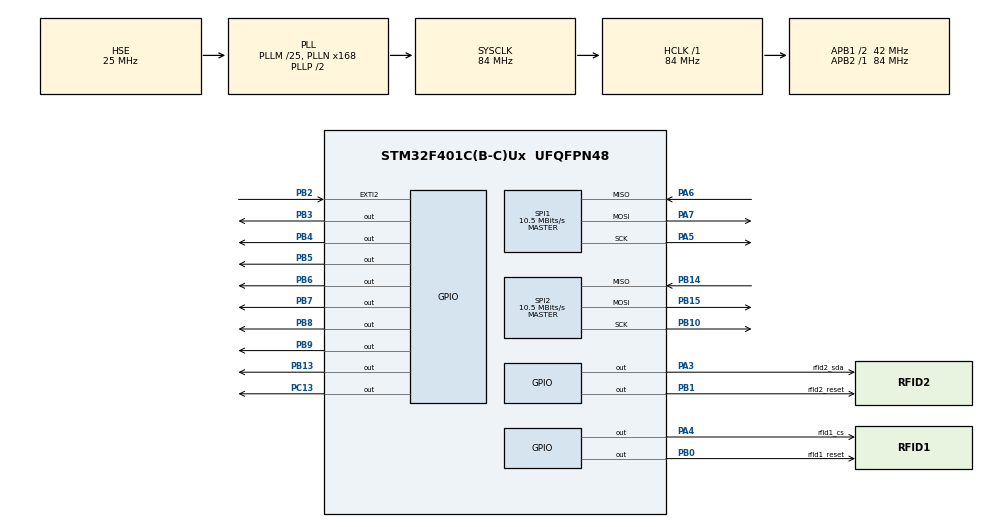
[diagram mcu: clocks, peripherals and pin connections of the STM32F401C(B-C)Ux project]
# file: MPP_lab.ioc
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Mcu.Family=STM32F4
Mcu.Name=STM32F401C(B-C)Ux
Mcu.Package=UFQFPN48
NVIC.PriorityGroup=NVIC_PRIORITYGROUP_4
NVIC.TIM2_IRQn=true\:0\:0\:false\:false\:true\:true\:true\:true
PA13.Mode=Serial_Wire
PA13.Signal=SYS_JTMS-SWDIO
PA14.Mode=Serial_Wire
PA14.Signal=SYS_JTCK-SWCLK
PA3.GPIO_Label=rfid2_sda
PA3.Signal=GPIO_Output
PA4.GPIO_Label=rfid1_cs
PA4.Signal=GPIO_Output
PA5.Mode=Full_Duplex_Master
PA5.Signal=SPI1_SCK
PA6.Mode=Full_Duplex_Master
PA6.Signal=SPI1_MISO
PA7.Mode=Full_Duplex_Master
PA7.Signal=SPI1_MOSI
PB0.GPIO_Label=rfid1_reset
PB0.Signal=GPIO_Output
PB1.GPIO_Label=rfid2_reset
PB1.Signal=GPIO_Output
PB10.Mode=Full_Duplex_Master
PB10.Signal=SPI2_SCK
PB13.Signal=GPIO_Output
PB14.Mode=Full_Duplex_Master
PB14.Signal=SPI2_MISO
PB15.Mode=Full_Duplex_Master
PB15.Signal=SPI2_MOSI
PB2.GPIO_PuPd=GPIO_PULLDOWN
PB2.Signal=GPXTI2
PB3.Signal=GPIO_Output
PB4.Signal=GPIO_Output
PB5.Signal=GPIO_Output
PB6.Signal=GPIO_Output
PB7.Signal=GPIO_Output
PB8.Signal=GPIO_Output
PB9.Signal=GPIO_Output
PC13-ANTI_TAMP.Signal=GPIO_Output
PH0\ -\ OSC_IN.Mode=HSE-External-Oscillator
PH0\ -\ OSC_IN.Signal=RCC_OSC_IN
PH1\ -\ OSC_OUT.Mode=HSE-External-Oscillator
PH1\ -\ OSC_OUT.Signal=RCC_OSC_OUT
ProjectManager.HeapSize=0x200
ProjectManager.StackSize=0x400
ProjectManager.TargetToolchain=STM32CubeIDE
RCC.48MHZClocksFreq_Value=42000000
RCC.AHBFreq_Value=84000000
RCC.APB1CLKDivider=RCC_HCLK_DIV2
RCC.APB1Freq_Value=42000000
RCC.APB1TimFreq_Value=84000000
RCC.APB2Freq_Value=84000000
RCC.APB2TimFreq_Value=84000000
RCC.CortexFreq_Value=84000000
RCC.HCLKFreq_Value=84000000
RCC.HSE_VALUE=25000000
RCC.HSI_VALUE=16000000
RCC.LSE_VALUE=32768
RCC.PLLM=25
RCC.PLLN=168
RCC.PLLSourceVirtual=RCC_PLLSOURCE_HSE
RCC.SYSCLKFreq_VALUE=84000000
RCC.SYSCLKSource=RCC_SYSCLKSOURCE_PLLCLK
RCC.VCOOutputFreq_Value=168000000
SPI1.BaudRatePrescaler=SPI_BAUDRATEPRESCALER_8
SPI1.CalculateBaudRate=10.5 MBits/s
SPI1.Direction=SPI_DIRECTION_2LINES
SPI1.Mode=SPI_MODE_MASTER
SPI1.VirtualType=VM_MASTER
SPI2.BaudRatePrescaler=SPI_BAUDRATEPRESCALER_4
SPI2.CalculateBaudRate=10.5 MBits/s
SPI2.Direction=SPI_DIRECTION_2LINES
SPI2.Mode=SPI_MODE_MASTER
SPI2.VirtualType=VM_MASTER
TIM2.Period=9999
TIM2.Prescaler=8399
VP_TIM2_VS_ClockSourceINT.Mode=Internal
board=custom

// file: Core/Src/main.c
/* USER CODE BEGIN Header */
//Reader 1 is South road
//Reader 2 is West Road.

/**
  ******************************************************************************
  * @file           : main.c
  * @brief          : Main program body
  ******************************************************************************
  * @attention
  *
  * Copyright (c) 2025 STMicroelectronics.
  * All rights reserved.
  *
  * This software is licensed under terms that can be found in the LICENSE file
  * in the root directory of this software component.
  * If no LICENSE file comes with this software, it is provided AS-IS.
  *
  ******************************************************************************
  */
/* USER CODE END Header */
#include "main.h"

/* USER CODE BEGIN Includes */
#include "string.h"
#include <rc522_1.h>
#include <rc522_2.h>
#include <stdbool.h>
/* USER CODE END Includes */

SPI_HandleTypeDef hspi1;
SPI_HandleTypeDef hspi2;

TIM_HandleTypeDef htim2;

/* USER CODE BEGIN PV */
uint8_t status;
uint8_t str[MAX_LEN]; // Max_LEN = 16
uint8_t card_id[5];
uint8_t cardNumber = 2;
bool chainless = false;
bool chained = false;
bool emergencychange = false;

#define SOUTH_GREEN_PIN   GPIO_PIN_3
#define SOUTH_RED_PIN     GPIO_PIN_4
#define WEST_GREEN_PIN    GPIO_PIN_5
#define WEST_RED_PIN      GPIO_PIN_6
#define NORTH_GREEN_PIN   GPIO_PIN_7
#define NORTH_RED_PIN     GPIO_PIN_8
#define EAST_GREEN_PIN    GPIO_PIN_9
#define EAST_RED_PIN      GPIO_PIN_13
#define TRAFFIC_PORT      GPIOB

/* USER CODE END PV */

void SystemClock_Config(void);
static void MX_GPIO_Init(void);
static void MX_SPI1_Init(void);
static void MX_TIM2_Init(void);
static void MX_SPI2_Init(void);

/* USER CODE BEGIN 0 */
uint16_t timerCounter = 0;

typedef enum{
	reader1,
	reader2
}Reader;

typedef enum {
    SOUTH_GREEN,
    WEST_GREEN,
    NORTH_GREEN,
    EAST_GREEN
} TrafficState;

bool emergencySouth = false;
bool emergencyWest = false;
bool emergencyActive = false;  // Indicates currently giving priority
TrafficState prevState;
TrafficState trafficState = SOUTH_GREEN;
uint16_t trafficTimer = 0;  // counts seconds within one state

void SetAllRed() {
    HAL_GPIO_WritePin(TRAFFIC_PORT, SOUTH_RED_PIN, GPIO_PIN_SET);
    HAL_GPIO_WritePin(TRAFFIC_PORT, WEST_RED_PIN, GPIO_PIN_SET);
    HAL_GPIO_WritePin(TRAFFIC_PORT, NORTH_RED_PIN, GPIO_PIN_SET);
    HAL_GPIO_WritePin(TRAFFIC_PORT, EAST_RED_PIN, GPIO_PIN_SET);

    HAL_GPIO_WritePin(TRAFFIC_PORT, SOUTH_GREEN_PIN, GPIO_PIN_RESET);
    HAL_GPIO_WritePin(TRAFFIC_PORT, WEST_GREEN_PIN, GPIO_PIN_RESET);
    HAL_GPIO_WritePin(TRAFFIC_PORT, NORTH_GREEN_PIN, GPIO_PIN_RESET);
    HAL_GPIO_WritePin(TRAFFIC_PORT, EAST_GREEN_PIN, GPIO_PIN_RESET);
}

void SetTrafficState(TrafficState state) {
    SetAllRed();  // first turn everything red

    switch (state) {
        case SOUTH_GREEN:
            HAL_GPIO_WritePin(TRAFFIC_PORT, SOUTH_RED_PIN, GPIO_PIN_RESET);
            HAL_GPIO_WritePin(TRAFFIC_PORT, SOUTH_GREEN_PIN, GPIO_PIN_SET);
            break;
        case WEST_GREEN:
            HAL_GPIO_WritePin(TRAFFIC_PORT, WEST_RED_PIN, GPIO_PIN_RESET);
            HAL_GPIO_WritePin(TRAFFIC_PORT, WEST_GREEN_PIN, GPIO_PIN_SET);
            break;
        case NORTH_GREEN:
            HAL_GPIO_WritePin(TRAFFIC_PORT, NORTH_RED_PIN, GPIO_PIN_RESET);
            HAL_GPIO_WritePin(TRAFFIC_PORT, NORTH_GREEN_PIN, GPIO_PIN_SET);
            break;
        case EAST_GREEN:
            HAL_GPIO_WritePin(TRAFFIC_PORT, EAST_RED_PIN, GPIO_PIN_RESET);
            HAL_GPIO_WritePin(TRAFFIC_PORT, EAST_GREEN_PIN, GPIO_PIN_SET);
            break;
    }
}

void set_status(Reader readby){
		prevState = trafficState;
	if(readby == reader1){
		trafficTimer = 0;
		emergencychange = true;
		SetTrafficState(SOUTH_GREEN);
	}
	else if(readby == reader2){
		trafficTimer = 0;
		emergencychange = true;
		SetTrafficState(WEST_GREEN);
	}
}

/* USER CODE END 0 */

int main(void)
{

  /* MCU Configuration--------------------------------------------------------*/

  /* Reset of all peripherals, Initializes the Flash interface and the Systick. */
  HAL_Init();

  /* Configure the system clock */
  SystemClock_Config();

  /* Initialize all configured peripherals */
  MX_GPIO_Init();
  MX_SPI1_Init();
  MX_TIM2_Init();
  MX_SPI2_Init();
  /* USER CODE BEGIN 2 */
  HAL_TIM_Base_Start_IT(&htim2);
  MFRC522_Init_1();
  MFRC522_Init();
  SetAllRed();
  SetTrafficState(SOUTH_GREEN);

  /* USER CODE END 2 */

  /* Infinite loop */
  /* USER CODE BEGIN WHILE */
  HAL_GPIO_WritePin(GPIOC, GPIO_PIN_13,0);
  while (1)
  {
	  //PC13 LED TESTER
//	  HAL_GPIO_WritePin(GPIOC, GPIO_PIN_13, 1);
//			  HAL_Delay(100);
//	  HAL_GPIO_WritePin(GPIOC, GPIO_PIN_13, 0);
//			  HAL_Delay(100);

	  // South RFID
	  if (!emergencyActive && MFRC522_Request_1(PICC_REQIDL_1, str) == MI_OK)
	  {
	      status = MFRC522_Anticoll_1(str);
	      memcpy(card_id, str, 5);
	      emergencySouth = true;   // Emergency detected on South
	      HAL_Delay(100);
	  }

	  // West RFID
	  if (!emergencyActive && MFRC522_Request(PICC_REQIDL, str) == MI_OK)
	  {
	      status = MFRC522_Anticoll(str);
	      memcpy(card_id, str, 5);
	      emergencyWest = true;    // Emergency detected on West
	      HAL_Delay(100);
	  }

    /* USER CODE END WHILE */

  }
}

void SystemClock_Config(void)
{
  RCC_OscInitTypeDef RCC_OscInitStruct = {0};
  RCC_ClkInitTypeDef RCC_ClkInitStruct = {0};

  /** Configure the main internal regulator output voltage
  */
  __HAL_RCC_PWR_CLK_ENABLE();
  __HAL_PWR_VOLTAGESCALING_CONFIG(PWR_REGULATOR_VOLTAGE_SCALE2);

  /** Initializes the RCC Oscillators according to the specified parameters
  * in the RCC_OscInitTypeDef structure.
  */
  RCC_OscInitStruct.OscillatorType = RCC_OSCILLATORTYPE_HSE;
  RCC_OscInitStruct.HSEState = RCC_HSE_ON;
  RCC_OscInitStruct.PLL.PLLState = RCC_PLL_ON;
  RCC_OscInitStruct.PLL.PLLSource = RCC_PLLSOURCE_HSE;
  RCC_OscInitStruct.PLL.PLLM = 25;
  RCC_OscInitStruct.PLL.PLLN = 168;
  RCC_OscInitStruct.PLL.PLLP = RCC_PLLP_DIV2;
  RCC_OscInitStruct.PLL.PLLQ = 4;
  if (HAL_RCC_OscConfig(&RCC_OscInitStruct) != HAL_OK)
  {
    Error_Handler();
  }

  /** Initializes the CPU, AHB and APB buses clocks
  */
  RCC_ClkInitStruct.ClockType = RCC_CLOCKTYPE_HCLK|RCC_CLOCKTYPE_SYSCLK
                              |RCC_CLOCKTYPE_PCLK1|RCC_CLOCKTYPE_PCLK2;
  RCC_ClkInitStruct.SYSCLKSource = RCC_SYSCLKSOURCE_PLLCLK;
  RCC_ClkInitStruct.AHBCLKDivider = RCC_SYSCLK_DIV1;
  RCC_ClkInitStruct.APB1CLKDivider = RCC_HCLK_DIV2;
  RCC_ClkInitStruct.APB2CLKDivider = RCC_HCLK_DIV1;

  if (HAL_RCC_ClockConfig(&RCC_ClkInitStruct, FLASH_LATENCY_2) != HAL_OK)
  {
    Error_Handler();
  }
}

static void MX_SPI1_Init(void)
{

  /* SPI1 parameter configuration*/
  hspi1.Instance = SPI1;
  hspi1.Init.Mode = SPI_MODE_MASTER;
  hspi1.Init.Direction = SPI_DIRECTION_2LINES;
  hspi1.Init.DataSize = SPI_DATASIZE_8BIT;
  hspi1.Init.CLKPolarity = SPI_POLARITY_LOW;
  hspi1.Init.CLKPhase = SPI_PHASE_1EDGE;
  hspi1.Init.NSS = SPI_NSS_SOFT;
  hspi1.Init.BaudRatePrescaler = SPI_BAUDRATEPRESCALER_8;
  hspi1.Init.FirstBit = SPI_FIRSTBIT_MSB;
  hspi1.Init.TIMode = SPI_TIMODE_DISABLE;
  hspi1.Init.CRCCalculation = SPI_CRCCALCULATION_DISABLE;
  hspi1.Init.CRCPolynomial = 10;
  if (HAL_SPI_Init(&hspi1) != HAL_OK)
  {
    Error_Handler();
  }

}

static void MX_SPI2_Init(void)
{

  /* SPI2 parameter configuration*/
  hspi2.Instance = SPI2;
  hspi2.Init.Mode = SPI_MODE_MASTER;
  hspi2.Init.Direction = SPI_DIRECTION_2LINES;
  hspi2.Init.DataSize = SPI_DATASIZE_8BIT;
  hspi2.Init.CLKPolarity = SPI_POLARITY_LOW;
  hspi2.Init.CLKPhase = SPI_PHASE_1EDGE;
  hspi2.Init.NSS = SPI_NSS_SOFT;
  hspi2.Init.BaudRatePrescaler = SPI_BAUDRATEPRESCALER_4;
  hspi2.Init.FirstBit = SPI_FIRSTBIT_MSB;
  hspi2.Init.TIMode = SPI_TIMODE_DISABLE;
  hspi2.Init.CRCCalculation = SPI_CRCCALCULATION_DISABLE;
  hspi2.Init.CRCPolynomial = 10;
  if (HAL_SPI_Init(&hspi2) != HAL_OK)
  {
    Error_Handler();
  }

}

static void MX_TIM2_Init(void)
{

  TIM_ClockConfigTypeDef sClockSourceConfig = {0};
  TIM_MasterConfigTypeDef sMasterConfig = {0};

  htim2.Instance = TIM2;
  htim2.Init.Prescaler = 8399;
  htim2.Init.CounterMode = TIM_COUNTERMODE_UP;
  htim2.Init.Period = 9999;
  htim2.Init.ClockDivision = TIM_CLOCKDIVISION_DIV1;
  htim2.Init.AutoReloadPreload = TIM_AUTORELOAD_PRELOAD_DISABLE;
  if (HAL_TIM_Base_Init(&htim2) != HAL_OK)
  {
    Error_Handler();
  }
  sClockSourceConfig.ClockSource = TIM_CLOCKSOURCE_INTERNAL;
  if (HAL_TIM_ConfigClockSource(&htim2, &sClockSourceConfig) != HAL_OK)
  {
    Error_Handler();
  }
  sMasterConfig.MasterOutputTrigger = TIM_TRGO_RESET;
  sMasterConfig.MasterSlaveMode = TIM_MASTERSLAVEMODE_DISABLE;
  if (HAL_TIMEx_MasterConfigSynchronization(&htim2, &sMasterConfig) != HAL_OK)
  {
    Error_Handler();
  }

}

static void MX_GPIO_Init(void)
{
  GPIO_InitTypeDef GPIO_InitStruct = {0};

  /* GPIO Ports Clock Enable */
  __HAL_RCC_GPIOC_CLK_ENABLE();
  __HAL_RCC_GPIOH_CLK_ENABLE();
  __HAL_RCC_GPIOA_CLK_ENABLE();
  __HAL_RCC_GPIOB_CLK_ENABLE();

  /*Configure GPIO pin Output Level */
  HAL_GPIO_WritePin(GPIOC, GPIO_PIN_13, GPIO_PIN_RESET);

  /*Configure GPIO pin Output Level */
  HAL_GPIO_WritePin(GPIOA, rfid2_sda_Pin|rfid1_cs_Pin, GPIO_PIN_RESET);

  /*Configure GPIO pin Output Level */
  HAL_GPIO_WritePin(GPIOB, rfid1_reset_Pin|rfid2_reset_Pin|GPIO_PIN_13|GPIO_PIN_3
                          |GPIO_PIN_4|GPIO_PIN_5|GPIO_PIN_6|GPIO_PIN_7
                          |GPIO_PIN_8|GPIO_PIN_9, GPIO_PIN_RESET);

  /*Configure GPIO pin : PC13 */
  GPIO_InitStruct.Pin = GPIO_PIN_13;
  GPIO_InitStruct.Mode = GPIO_MODE_OUTPUT_PP;
  GPIO_InitStruct.Pull = GPIO_NOPULL;
  GPIO_InitStruct.Speed = GPIO_SPEED_FREQ_LOW;
  HAL_GPIO_Init(GPIOC, &GPIO_InitStruct);

  /*Configure GPIO pins : rfid2_sda_Pin rfid1_cs_Pin */
  GPIO_InitStruct.Pin = rfid2_sda_Pin|rfid1_cs_Pin;
  GPIO_InitStruct.Mode = GPIO_MODE_OUTPUT_PP;
  GPIO_InitStruct.Pull = GPIO_NOPULL;
  GPIO_InitStruct.Speed = GPIO_SPEED_FREQ_LOW;
  HAL_GPIO_Init(GPIOA, &GPIO_InitStruct);

  /*Configure GPIO pins : rfid1_reset_Pin rfid2_reset_Pin PB13 PB3
                           PB4 PB5 PB6 PB7
                           PB8 PB9 */
  GPIO_InitStruct.Pin = rfid1_reset_Pin|rfid2_reset_Pin|GPIO_PIN_13|GPIO_PIN_3
                          |GPIO_PIN_4|GPIO_PIN_5|GPIO_PIN_6|GPIO_PIN_7
                          |GPIO_PIN_8|GPIO_PIN_9;
  GPIO_InitStruct.Mode = GPIO_MODE_OUTPUT_PP;
  GPIO_InitStruct.Pull = GPIO_NOPULL;
  GPIO_InitStruct.Speed = GPIO_SPEED_FREQ_LOW;
  HAL_GPIO_Init(GPIOB, &GPIO_InitStruct);

  /*Configure GPIO pin : PB2 */
  GPIO_InitStruct.Pin = GPIO_PIN_2;
  GPIO_InitStruct.Mode = GPIO_MODE_IT_RISING;
  GPIO_InitStruct.Pull = GPIO_PULLDOWN;
  HAL_GPIO_Init(GPIOB, &GPIO_InitStruct);

}

/* USER CODE BEGIN 4 */
void HAL_TIM_PeriodElapsedCallback(TIM_HandleTypeDef *htim)
{
    if (htim->Instance != TIM2) return;

    trafficTimer++;  // seconds

    if (emergencyActive) {
        if (trafficTimer >= 10) {
            trafficTimer = 0;
            emergencyActive = false;

            // Only go back to previous state if it's different
            if (trafficState != prevState) {
                trafficState = prevState; // resume normal
            } else {
                // advance to the next normal state
                switch (trafficState) {
                    case SOUTH_GREEN: trafficState = WEST_GREEN; break;
                    case WEST_GREEN: trafficState = NORTH_GREEN; break;
                    case NORTH_GREEN: trafficState = EAST_GREEN; break;
                    case EAST_GREEN: trafficState = SOUTH_GREEN; break;
                }
            }

            SetTrafficState(trafficState);
        }
        return;
    }

    // Check for new emergency
    if (emergencySouth) {
        prevState = trafficState;
        trafficState = SOUTH_GREEN;
        emergencySouth = false;
        emergencyActive = true;
        trafficTimer = 0;
        SetTrafficState(trafficState);
        return;
    }
    if (emergencyWest) {
        prevState = trafficState;
        trafficState = WEST_GREEN;
        emergencyWest = false;
        emergencyActive = true;
        trafficTimer = 0;
        SetTrafficState(trafficState);
        return;
    }

    // Normal state machine
    switch (trafficState)
    {
        case SOUTH_GREEN:
            if (trafficTimer >= 10) {
                trafficTimer = 0;
                prevState = trafficState;
                trafficState = WEST_GREEN;
                SetTrafficState(trafficState);
            }
            break;
        case WEST_GREEN:
            if (trafficTimer >= 10) {
                trafficTimer = 0;
                prevState = trafficState;
                trafficState = NORTH_GREEN;
                SetTrafficState(trafficState);
            }
            break;
        case NORTH_GREEN:
            if (trafficTimer >= 10) {
                trafficTimer = 0;
                prevState = trafficState;
                trafficState = EAST_GREEN;
                SetTrafficState(trafficState);
            }
            break;
        case EAST_GREEN:
            if (trafficTimer >= 10) {
                trafficTimer = 0;
                prevState = trafficState;
                trafficState = SOUTH_GREEN;
                SetTrafficState(trafficState);
            }
            break;
    }
}

/* USER CODE END 4 */

void Error_Handler(void)
{
  __disable_irq();
  while (1)
  {
  }
}
